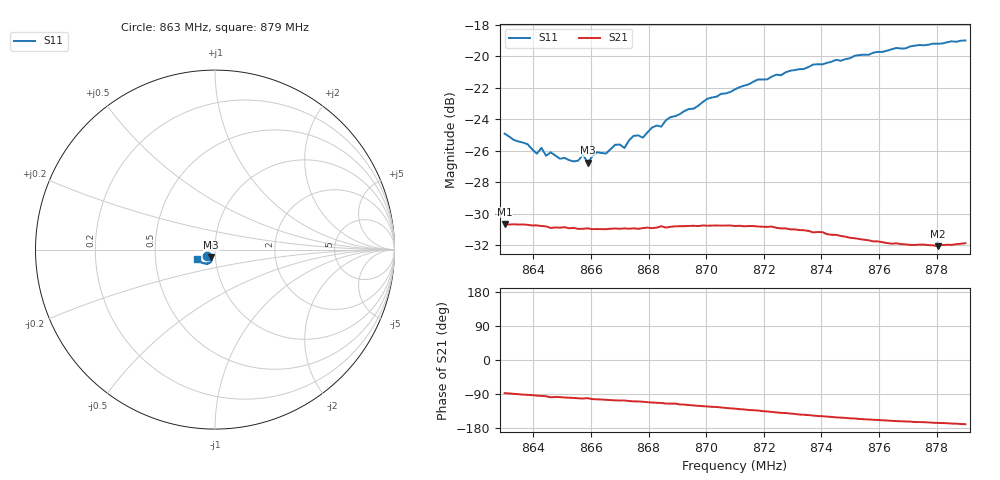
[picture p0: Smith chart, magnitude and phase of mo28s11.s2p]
# HZ S RI R 50
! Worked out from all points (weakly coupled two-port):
!   101 points, 863 MHz to 879 MHz, reference 50 ohm
!   highest |S21| = -30.66 dB at 863 MHz (marker M1); lowest = -32.1 dB at 878.04 MHz (marker M2)
!   lowest |S11| = -26.8 dB at 865.88 MHz (marker M3), VSWR 1.10, Z = 47.8 - j3.92 ohm
!   |S11| at or under -10 dB: start of sweep to end of sweep
!   S12 and S22 are empty: the file has one direction only
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8.63e8  -0.0438 -0.0361  0.0013 -0.0293  0 0  0 0
8.6412e8  -0.0345 -0.0348  -0.00203 -0.0289  0 0  0 0
8.6428e8  -0.0341 -0.0381  -0.00233 -0.0288  0 0  0 0
8.6444e8  -0.0331 -0.0351  -0.00284 -0.0286  0 0  0 0
8.646e8  -0.0326 -0.0372  -0.00417 -0.0281  0 0  0 0
8.654e8  -0.0255 -0.0387  -0.00498 -0.028  0 0  0 0
8.6572e8  -0.0254 -0.0415  -0.00575 -0.0277  0 0  0 0
8.6588e8  -0.0209 -0.0409  -0.00523 -0.0279  0 0  0 0
8.662e8  -0.0235 -0.0436  -0.00672 -0.0274  0 0  0 0
8.6652e8  -0.0206 -0.0445  -0.00734 -0.0272  0 0  0 0
8.6684e8  -0.0217 -0.0476  -0.00804 -0.0272  0 0  0 0
8.6716e8  -0.0174 -0.048  -0.00813 -0.0272  0 0  0 0
8.6748e8  -0.0203 -0.052  -0.00928 -0.0268  0 0  0 0
8.678e8  -0.0169 -0.0525  -0.00977 -0.0267  0 0  0 0
8.6812e8  -0.02 -0.0559  -0.0107 -0.0263  0 0  0 0
8.6844e8  -0.017 -0.0573  -0.0114 -0.0265  0 0  0 0
8.6876e8  -0.0206 -0.0607  -0.0122 -0.026  0 0  0 0
8.71e8  -0.0293 -0.0729  -0.0179 -0.0226  0 0  0 0
8.7372e8  -0.051 -0.0792  -0.023 -0.0151  0 0  0 0
8.7644e8  -0.0778 -0.0709  -0.0239 -0.00843  0 0  0 0
8.7804e8  -0.0921 -0.0595  -0.0242 -0.006  0 0  0 0
8.79e8  -0.1 -0.0513  -0.025 -0.00466  0 0  0 0
